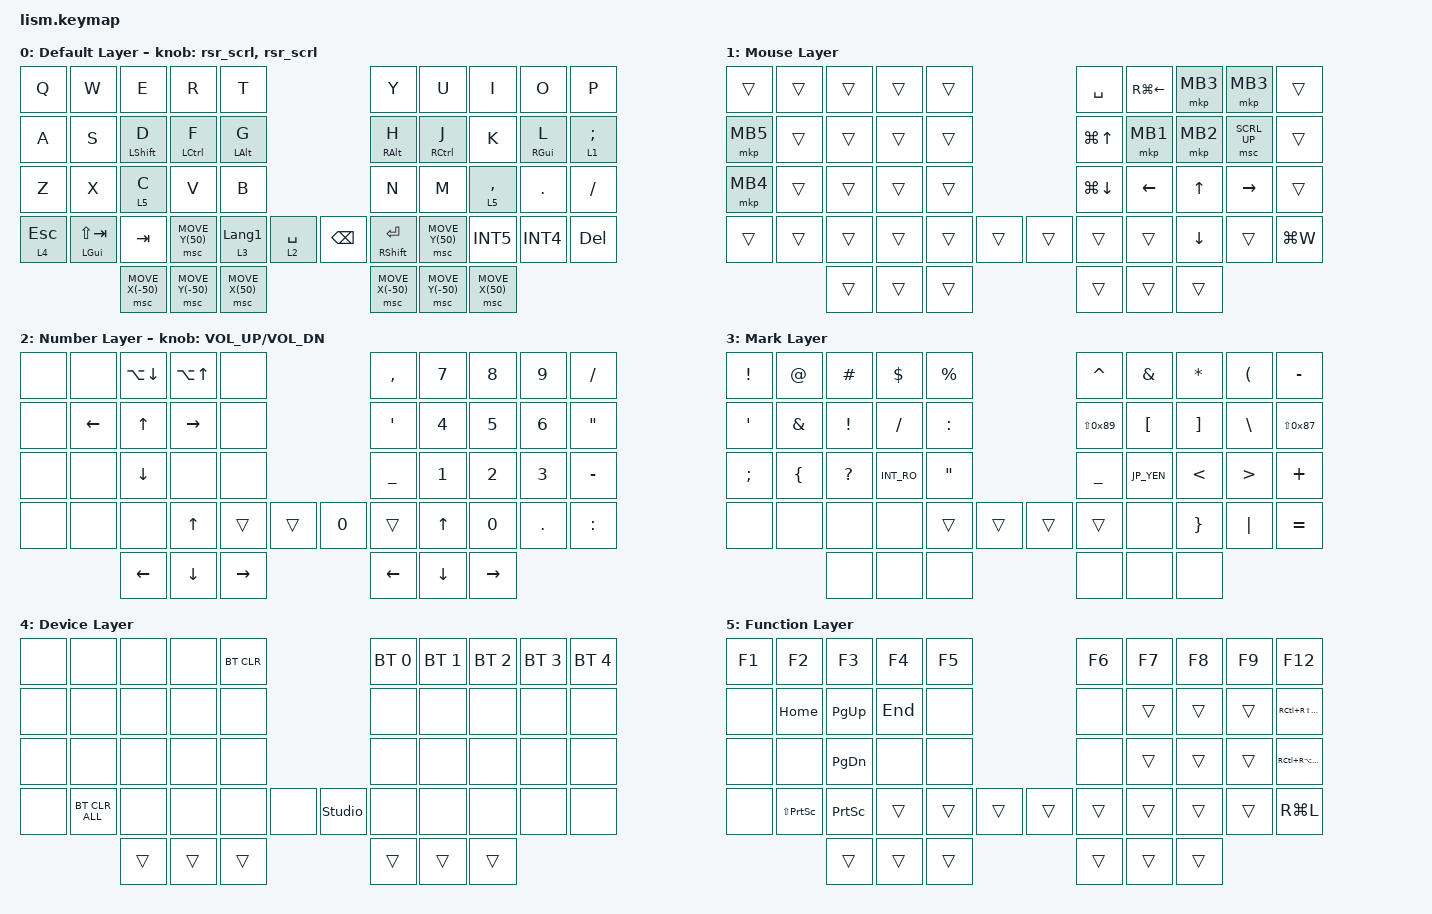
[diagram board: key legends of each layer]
#define ZMK_POINTING_DEFAULT_SCRL_VAL 200

// OS設定を日本語キーボードのまま使用するための変換定義
#define JP_DQUOTE       AT                // "
#define JP_AMPERSAND    CARET             // &
#define JP_QUOTE        AMPERSAND         // '
#define JP_EQUAL        UNDER             // =
#define JP_CARET        EQUAL             // ^
#define JP_YEN          0x89              // ¥
#define JP_PLUS         COLON             // +
#define JP_TILDE        PLUS              // ~
#define JP_PIPE         LS(0x89)          // |
#define JP_AT           LEFT_BRACKET      // @
#define JP_COLON        SINGLE_QUOTE      // :
#define JP_ASTERISK     DOUBLE_QUOTES     // *
#define JP_BACKQUOTE    LEFT_BRACE        // `
#define JP_UNDERSCORE   LS(0x87)          // _
#define JP_LBRACKET     RIGHT_BRACKET     // [
#define JP_RBRACKET     BACKSLASH         // ]
#define JP_LPAREN       ASTERISK          // (
#define JP_RPAREN       LEFT_PARENTHESIS  // )
#define JP_LBRACE       RIGHT_BRACE       // {
#define JP_RBRACE       PIPE              // }
#define JP_KANA         LANGUAGE_1        // かな
#define JP_EISU         LANGUAGE_2        // 英数
#define JP_HANZEN       GRAVE             // 半角/全角
#define JP_HENKAN       INT4              // 変換
#define JP_MUHEN        INT5              // 無変換
#include <behaviors.dtsi>
#include <dt-bindings/zmk/bt.h>
#include <dt-bindings/zmk/keys.h>
#include <dt-bindings/zmk/pointing.h>
#include <dt-bindings/zmk/mouse.h>
#include <behaviors/runtime-sensor-rotate.dtsi>
#include <behaviors/default_layer.dtsi>
#include <dt-bindings/zmk_behavior_default_layer/default_layer.h>

&mt {
    tapping-term-ms = <200>;
    quick-tap-ms = <150>;
    flavor = "balanced";
};

&lt {
    quick-tap-ms = <150>;
};


/ {
    macros {
        emoji: emoji_macro {
            compatible = "zmk,behavior-macro";
            label = "EMOJI";
            #binding-cells = <0>;
            bindings = 
                <&macro_press &kp CAPSLOCK>,
                <&macro_tap &kp E>,
                <&macro_release &kp CAPSLOCK>;
        };
    };

    combos {
        compatible = "zmk,combos";
        combo_JP_EISU {
            timeout-ms = <50>;
            key-positions = <12 13>;
            bindings = <&kp JP_EISU>;
        };
        combo_JP_HANZEN {
            timeout-ms = <50>;
            key-positions = <16 17>;
            bindings = <&kp JP_HANZEN>;
        };
    };

    behaviors {
        encoder_kp: sensor_rotate_kp {
            compatible = "zmk,behavior-sensor-rotate-var";
            #sensor-binding-cells = <2>;
            bindings = <&kp>, <&kp>;
        };

        rsr_scrl: rsr_scrl {
            compatible = "zmk,behavior-runtime-sensor-rotate";
            #sensor-binding-cells = <0>;
            tap-ms = <20>;
            cw-binding = <&msc SCRL_UP>;
            ccw-binding = <&msc SCRL_DOWN>;
        };

        hmrr: hmr_right {
            compatible = "zmk,behavior-hold-tap";
            #binding-cells = <2>;
            bindings = <&kp>, <&kp>;
            tapping-term-ms = <200>;
            flavor = "balanced";
            hold-trigger-key-positions = <34 33 32 31 30 20 21 22 23 24 14 13 12 11 10 0 1 2 3 4>;
            hold-trigger-on-release;
            require-prior-idle-ms = <150>;
        };

        hmrl: hmr_left {
            compatible = "zmk,behavior-hold-tap";
            #binding-cells = <2>;
            bindings = <&kp>, <&kp>;
            tapping-term-ms = <200>;
            flavor = "balanced";
            hold-trigger-key-positions = <39 38 37 36 35 29 28 27 26 25 19 18 17 16 15 5 6 7 8 9>;
            hold-trigger-on-release;
            require-prior-idle-ms = <150>;
        };
    };

    keymap {
        compatible = "zmk,keymap";

        default_layer {
            display-name = "Default Layer";
            bindings = <
                &kp Q       &kp W             &kp E             &kp R             &kp T                                                 &kp Y               &kp U             &kp I            &kp O           &kp P
                &kp A       &kp S             &hmrl LSHIFT D    &hmrl LCTRL F     &hmrl LALT G                                          &hmrr RALT H        &hmrr RCTRL J     &kp K            &hmrr RGUI L    &lt 1 SEMICOLON
                &kp Z       &kp X             &lt 5 C           &kp V             &kp B                                                 &kp N               &kp M             &lt 5 COMMA      &kp DOT         &kp SLASH
                &lt 4 ESC   &mt LGUI LS(TAB)  &kp TAB           &msc MOVE_Y(50)   &lt 3 JP_KANA    &lt 2 SPACE                &kp BSPC  &mt RSHIFT ENTER    &msc MOVE_Y(50)   &kp JP_MUHEN     &kp JP_HENKAN   &kp DEL
                                              &msc MOVE_X(-50)  &msc MOVE_Y(-50)  &msc MOVE_X(50)                                       &msc MOVE_X(-50)    &msc MOVE_Y(-50)  &msc MOVE_X(50)
            >;
            sensor-bindings = <&rsr_scrl &rsr_scrl>;
        };

        layer_1 {
            display-name = "Mouse Layer";
            bindings = <
                &trans      &trans    &trans    &trans    &trans                                  &kp SPACE       &kp RG(LEFT)    &mkp MB3    &mkp MB3        &trans
                &mkp MB5    &trans    &trans    &trans    &trans                                  &kp LG(UP)      &mkp MB1        &mkp MB2    &msc SCRL_UP    &trans
                &mkp MB4    &trans    &trans    &trans    &trans                                  &kp LG(DOWN)    &kp LEFT        &kp UP      &kp RIGHT       &trans
                &trans      &trans    &trans    &trans    &trans    &trans              &trans    &trans          &trans          &kp DOWN    &trans          &kp LG(W)
                                      &trans    &trans    &trans                                  &trans          &trans          &trans
            >;
        };

        layer_2 {
            display-name = "Number Layer";
            bindings = <
                &none   &none       &kp LA(DOWN)    &kp LA(UP)  &none                                        &kp COMMA       &kp N7     &kp N8      &kp N9      &kp SLASH
                &none   &kp LEFT    &kp UP          &kp RIGHT   &none                                        &kp JP_COLON    &kp N4     &kp N5      &kp N6      &kp JP_ASTERISK
                &none   &none       &kp DOWN        &none       &none                                        &kp JP_EQUAL    &kp N1     &kp N2      &kp N3      &kp MINUS
                &none   &none       &none           &kp UP      &trans      &trans              &kp N0       &trans          &kp UP     &kp N0      &kp DOT     &kp JP_PLUS
                                    &kp LEFT        &kp DOWN    &kp RIGHT                                    &kp LEFT        &kp DOWN   &kp RIGHT
            >;
            sensor-bindings = <&encoder_kp C_VOL_UP C_VOL_DN>;
        };

        layer_3 {
            display-name = "Mark Layer";
            bindings = <
                &kp EXCLAMATION   &kp JP_DQUOTE      &kp HASH           &kp DOLLAR    &kp PERCENT                                       &kp JP_AMPERSAND    &kp JP_QUOTE    &kp JP_LPAREN     &kp JP_RPAREN       &kp MINUS
                &kp JP_COLON      &kp JP_QUOTE       &kp EXCLAMATION    &kp SLASH     &kp JP_PLUS                                       &kp JP_PIPE         &kp JP_AT       &kp JP_LBRACKET   &kp JP_RBRACKET     &kp JP_UNDERSCORE
                &kp SEMICOLON     &kp JP_BACKQUOTE   &kp QUESTION       &kp INT_RO    &kp JP_ASTERISK                                   &kp JP_EQUAL        &kp JP_YEN      &kp LESS_THAN     &kp GREATER_THAN    &kp JP_TILDE
                &none             &none              &none              &none         &trans              &trans              &trans    &trans              &none           &kp JP_LBRACE     &kp JP_RBRACE       &kp JP_CARET
                                                     &none              &none         &none                                             &none               &none           &none
            >;
        };

        layer_4 {
            display-name = "Device Layer";
            bindings = <
                &none            &none              &none                 &none                   &bt BT_CLR                                             &bt BT_SEL 0 &bt BT_SEL 1     &bt BT_SEL 2       &bt BT_SEL 3        &bt BT_SEL 4
                &none            &none              &none                 &none                   &none                                                  &none        &none            &none              &none               &none
                &none            &none              &none                 &none                   &none                                                  &none        &none            &none              &none               &none
                &none            &bt BT_CLR_ALL     &none                 &none                   &none             &none               &studio_unlock   &none        &none            &none              &none               &none
                                                    &trans                &trans                  &trans                                                 &trans       &trans           &trans
            >;
        };

        layer_5 {
            display-name = "Function Layer";
            bindings = <
                &kp F1    &kp F2          &kp F3      &kp F4    &kp F5                                  &kp F6    &kp F7    &kp F8    &kp F9    &kp F12
                &none     &kp HOME        &kp PG_UP   &kp END   &none                                   &none     &trans    &trans    &trans    &kp RC(RS(ESC))
                &none     &none           &kp PG_DN   &none     &none                                   &none     &trans    &trans    &trans    &kp RC(RA(DEL))
                &none     &kp LS(PSCRN)   &kp PSCRN   &trans    &trans    &trans              &trans    &trans    &trans    &trans    &trans    &kp RG(L)
                                          &trans      &trans    &trans                                  &trans    &trans    &trans
            >;
        };

        layer_6 {
            status = "reserved";
            display-name = "Brank Layer";
            bindings = <
                &trans           &trans             &trans                &trans                  &trans                                                 &trans       &trans           &trans             &trans              &trans
                &trans           &trans             &trans                &trans                  &trans                                                 &trans       &trans           &trans             &trans              &trans
                &trans           &trans             &trans                &trans                  &trans                                                 &trans       &trans           &trans             &trans              &trans
                &trans           &trans             &trans                &trans                  &trans            &trans              &trans           &trans       &trans           &trans             &trans              &trans
                                                    &trans                &trans                  &trans                                                 &trans       &trans           &trans
            >;
        };

        layer_7 {
            status = "reserved";
            display-name = "Brank Layer";
            bindings = <
                &trans           &trans             &trans                &trans                  &trans                                                 &trans       &trans           &trans             &trans              &trans
                &trans           &trans             &trans                &trans                  &trans                                                 &trans       &trans           &trans             &trans              &trans
                &trans           &trans             &trans                &trans                  &trans                                                 &trans       &trans           &trans             &trans              &trans
                &trans           &trans             &trans                &trans                  &trans            &trans              &trans           &trans       &trans           &trans             &trans              &trans
                                                    &trans                &trans                  &trans                                                 &trans       &trans           &trans
            >;
        };
    };
};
